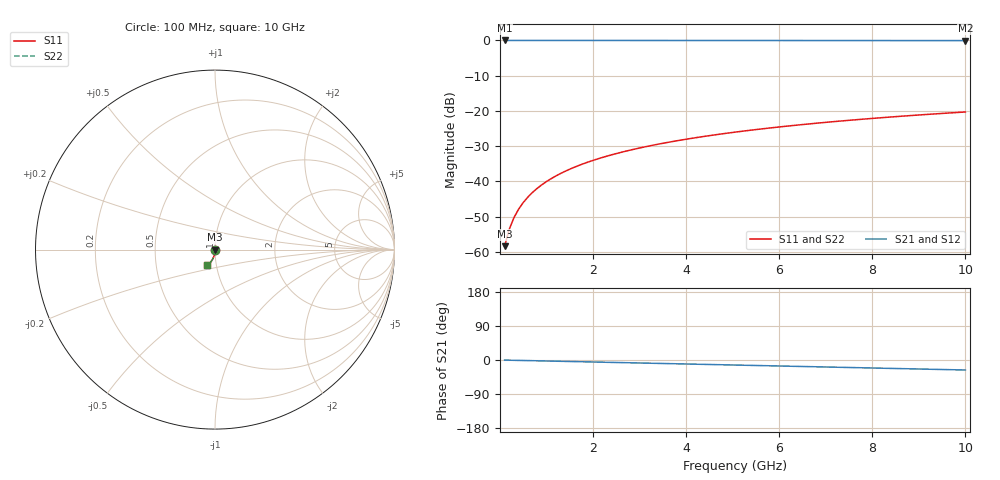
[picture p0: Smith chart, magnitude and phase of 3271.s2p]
# Hz S RI R 50.00
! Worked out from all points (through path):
!   100 points, 100 MHz to 10 GHz, reference 50 ohm
!   highest |S21| = -0.01 dB at 100 MHz (marker M1); lowest = -0.1 dB at 10 GHz (marker M2)
!   group delay of S21, straight-line fit = 7.34 ps
!   lowest |S11| = -58.4 dB at 100 MHz (marker M3), VSWR 1.00, Z = 50.1 - j0.0998 ohm
!   |S11| at or under -10 dB: start of sweep to end of sweep
!   |S22| runs from -58.4 to -20.3 dB; largest |S21 - S12| = 0
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1e8  0.000682 -0.000997  0.9993 -0.00458  0.9993 -0.00458  0.000682 -0.000997
2e8  0.00067 -0.00199  0.9993 -0.00915  0.9993 -0.00915  0.00067 -0.00199
3e8  0.000648 -0.00299  0.9992 -0.0137  0.9992 -0.0137  0.000648 -0.00299
4e8  0.000616 -0.00399  0.9991 -0.0183  0.9991 -0.0183  0.000616 -0.00399
5e8  0.000575 -0.00498  0.999 -0.0229  0.999 -0.0229  0.000575 -0.00498
6e8  0.000525 -0.00598  0.9989 -0.0275  0.9989 -0.0275  0.000525 -0.00598
7e8  0.000465 -0.00697  0.9987 -0.032  0.9987 -0.032  0.000465 -0.00697
8e8  0.000396 -0.00797  0.9986 -0.0366  0.9986 -0.0366  0.000396 -0.00797
9e8  0.000317 -0.00896  0.9984 -0.0412  0.9984 -0.0412  0.000317 -0.00896
1.1e9  0.000133 -0.011  0.9979 -0.0503  0.9979 -0.0503  0.000133 -0.011
1.4e9  -0.000213 -0.0139  0.9971 -0.0641  0.9971 -0.0641  -0.000213 -0.0139
1.8e9  -0.000802 -0.0179  0.9957 -0.0823  0.9957 -0.0823  -0.000802 -0.0179
2.1e9  -0.00134 -0.0208  0.9944 -0.096  0.9944 -0.096  -0.00134 -0.0208
2.5e9  -0.00218 -0.0248  0.9923 -0.1143  0.9923 -0.1143  -0.00218 -0.0248
2.9e9  -0.00317 -0.0286  0.9899 -0.1325  0.9899 -0.1325  -0.00317 -0.0286
3.4e9  -0.00461 -0.0335  0.9865 -0.1552  0.9865 -0.1552  -0.00461 -0.0335
4.2e9  -0.00736 -0.041  0.9798 -0.1913  0.9798 -0.1913  -0.00736 -0.041
5.1e9  -0.0111 -0.0493  0.9706 -0.2317  0.9706 -0.2317  -0.0111 -0.0493
5.9e9  -0.015 -0.0563  0.9609 -0.2672  0.9609 -0.2672  -0.015 -0.0563
6.7e9  -0.0195 -0.0631  0.9499 -0.3023  0.9499 -0.3023  -0.0195 -0.0631
8.4e9  -0.0304 -0.0762  0.9221 -0.3756  0.9221 -0.3756  -0.0304 -0.0762
1e10  -0.0425 -0.0868  0.8905 -0.4422  0.8905 -0.4422  -0.0425 -0.0868
